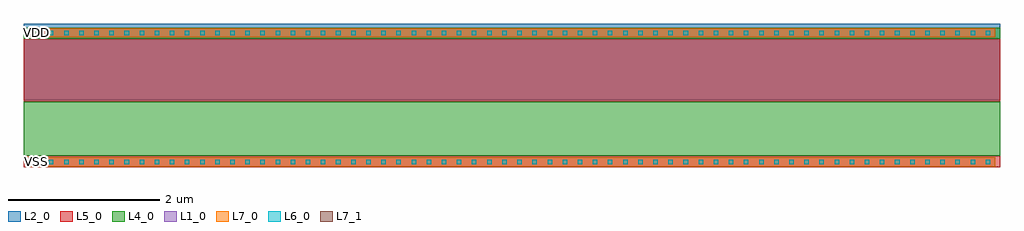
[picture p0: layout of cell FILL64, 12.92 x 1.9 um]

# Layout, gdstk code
import gdstk
lib = gdstk.Library(unit=1e-6, precision=5e-10)
def R(c, l, rs):  # rectangles x0, y0, x1, y1
    for r in rs: c.add(gdstk.rectangle(r[:2], r[2:], *l))
def A(c, l, x, y, w, h, nx, ny, dx, dy):  # array of equal rectangles
    R(c, l, [(x+i*dx, y+j*dy, x+i*dx+w, y+j*dy+h) for i in range(nx) for j in range(ny)])
L1_0 = (1, 0)
L2_0 = (2, 0)
L4_0 = (4, 0)
L5_0 = (5, 0)
L6_0 = (6, 0)
L7_0 = (7, 0)
L7_1 = (7, 1)

fill64 = lib.new_cell('FILL64')
R(fill64, L1_0, [(0,-0.06,12.8,0.06), (0,1.65,12.8,1.77)])
R(fill64, L2_0, [(-0.06,0.82,12.86,1.83)])
R(fill64, L4_0, [(-0.06,0.08,12.86,0.8), (-0.06,1.63,12.86,1.78)])
R(fill64, L5_0, [(-0.06,-0.07,12.86,0.08), (-0.06,0.8,12.86,1.63)])
A(fill64, L6_0, 0.07, -0.03, 0.06, 0.06, 64, 2, 0.2, 1.71)
R(fill64, L7_0, [(0,-0.06,12.8,0.06), (0,1.65,12.8,1.77)])
R(fill64, L7_1, [(0.06,-0.04,0.14,0.04), (0.06,1.67,0.14,1.75)])
fill64.add(gdstk.Label('VSS', (0.1,0), layer=7, texttype=1))
fill64.add(gdstk.Label('VDD', (0.1,1.71), layer=7, texttype=1))
fill64.add(gdstk.Label('VDD', (0.09,1.7), layer=63, texttype=0))
fill64.add(gdstk.Label('VSS', (0.085,0), layer=63, texttype=0))

lib.write_gds('FILL64.gds')
